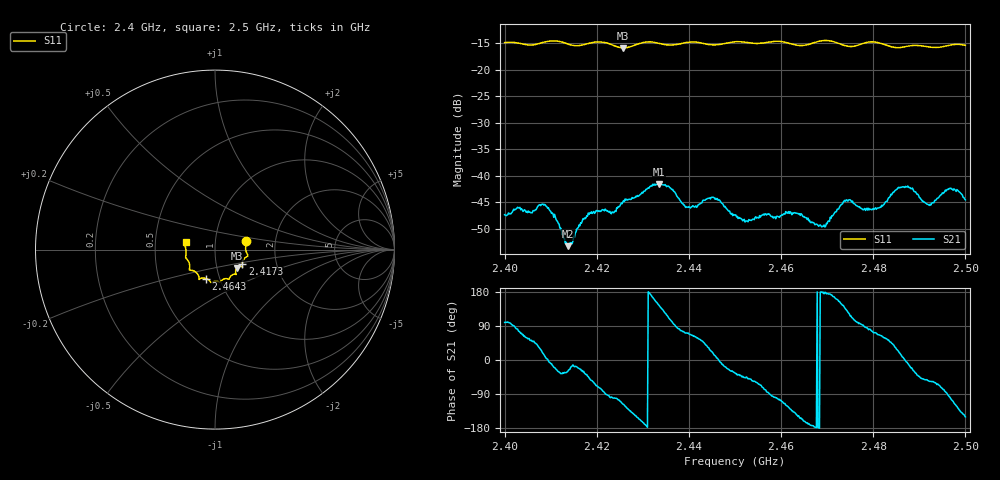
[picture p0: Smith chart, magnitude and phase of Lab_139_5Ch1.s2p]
# Hz S RI R 50
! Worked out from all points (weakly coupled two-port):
!   601 points, 2.4 GHz to 2.5 GHz, reference 50 ohm
!   highest |S21| = -41.55 dB at 2.4335 GHz (marker M1); lowest = -53.3 dB at 2.4138 GHz (marker M2)
!   lowest |S11| = -15.9 dB at 2.4257 GHz (marker M3), VSWR 1.38, Z = 62.5 - j13.1 ohm
!   |S11| at or under -10 dB: start of sweep to end of sweep
!   S12 and S22 are empty: the file has one direction only
!   S11 on the Smith chart (normalised r, x): 2.4 GHz: 1.41, +0.14; 2.4173 GHz: 1.34, -0.22; 2.4643 GHz: 0.86, -0.29; 2.5 GHz: 0.72, +0.06
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2.4e9  0.1729 0.0489  -0.000688 0.00424  0 0  0 0
2.408667e9  0.1803 -0.0264  0.00525 0.00108  0 0  0 0
2.413833e9  0.1675 -0.0456  0.00193 -0.000994  0 0  0 0
2.416667e9  0.1527 -0.0741  0.00313 -0.00169  0 0  0 0
2.417333e9  0.1519 -0.0815  0.00329 -0.00228  0 0  0 0
2.423667e9  0.14 -0.0942  -0.000827 -0.0044  0 0  0 0
2.425667e9  0.1233 -0.1022  -0.00252 -0.00507  0 0  0 0
2.433333e9  0.1128 -0.1371  -0.00696 0.00457  0 0  0 0
2.4335e9  0.1119 -0.1369  -0.0068 0.00487  0 0  0 0
2.439333e9  0.0801 -0.161  0.00162 0.00475  0 0  0 0
2.445333e9  0.0531 -0.1625  0.00601 0.00172  0 0  0 0
2.45e9  0.0287 -0.1808  0.00354 -0.00239  0 0  0 0
2.464333e9  -0.0498 -0.1611  -0.00392 -0.00198  0 0  0 0
2.466667e9  -0.0759 -0.1593  -0.00364 -0.000452  0 0  0 0
2.4695e9  -0.0885 -0.1661  -0.00329 7.92e-05  0 0  0 0
2.474167e9  -0.0986 -0.1346  -0.00399 0.00438  0 0  0 0
2.479333e9  -0.1425 -0.1139  0.000746 0.00477  0 0  0 0
2.483333e9  -0.1407 -0.09  0.00374 0.00494  0 0  0 0
2.487e9  -0.1549 -0.0562  0.00791 -0.000298  0 0  0 0
2.492e9  -0.1618 -0.0255  0.00306 -0.00436  0 0  0 0
2.4965e9  -0.1678 0.0238  -0.000889 -0.00754  0 0  0 0
2.5e9  -0.164 0.0427  -0.00513 -0.00295  0 0  0 0
